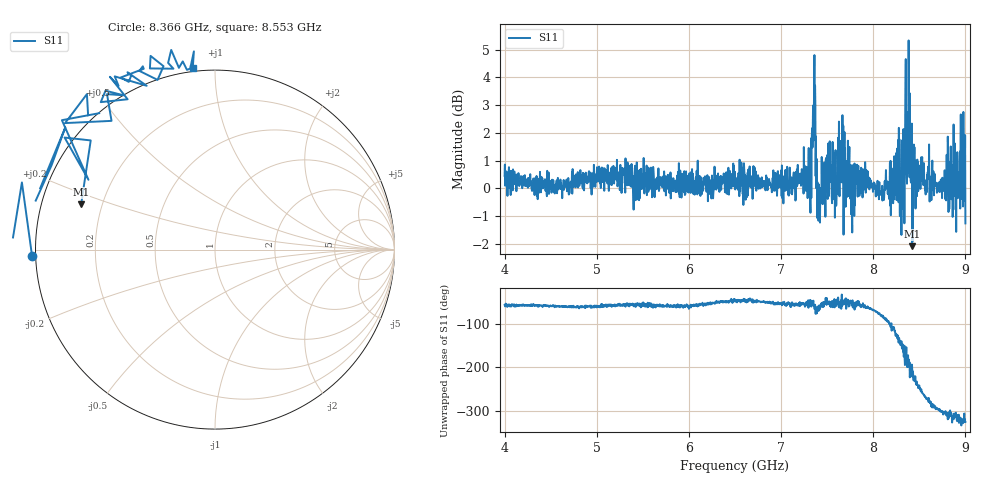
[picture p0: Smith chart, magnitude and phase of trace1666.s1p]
! Created with skrf 1.8.0 (http://scikit-rf.org).
# Hz S RI R 50.0
!freq ReS11 ImS11
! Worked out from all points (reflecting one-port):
!   1601 points, 4 GHz to 9 GHz, reference 50 ohm
!   lowest |S11| = -2.1 dB at 8.422 GHz (marker M1), VSWR 8.40, Z = 6.11 + j8.1 ohm
!   phase of S11 starts at -56 deg and turns -268 deg over the sweep
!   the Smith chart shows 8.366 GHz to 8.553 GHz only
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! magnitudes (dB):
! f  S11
! 4 GHz  0.5
! 4.625 GHz  -0.4
! 5.25 GHz  -0.1
! 5.875 GHz  -0.1
! 6.5 GHz  0.6
! 7.125 GHz  0.2
! 7.303 GHz  0.9
! 7.356 GHz  2.8
! 7.378 GHz  1.9
! 7.4 GHz  0.1
! 7.412 GHz  -0.9
! 7.509 GHz  -0.3
! 7.591 GHz  1.4
! 7.65 GHz  1.3
! 7.75 GHz  0.1
! 8.094 GHz  -0.2
! 8.216 GHz  -0.5
! 8.259 GHz  1.4
! 8.312 GHz  1.7
! 8.334 GHz  1.0
! 8.375 GHz  2.7
! 8.412 GHz  0.6
! 8.422 GHz  -2.1
! 8.447 GHz  1.5
! 8.516 GHz  0.5
! 8.722 GHz  -0.1
! 8.972 GHz  0.4
! 9 GHz  -1.3
